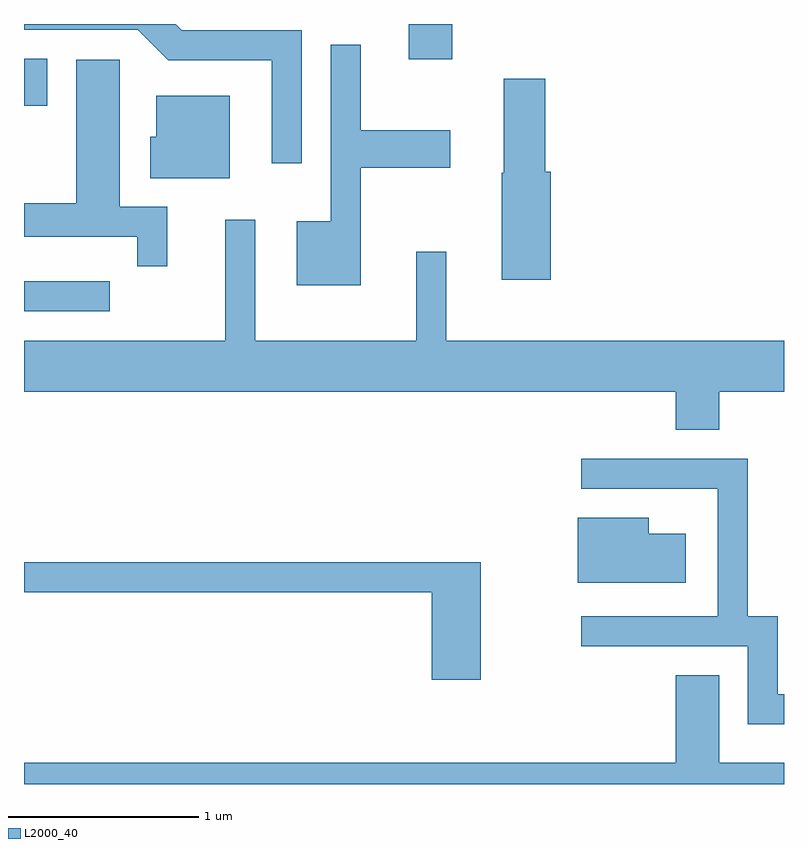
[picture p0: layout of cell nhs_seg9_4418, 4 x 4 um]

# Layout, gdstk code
import gdstk
lib = gdstk.Library(unit=1e-6, precision=1e-09)
def R(c, l, rs):  # rectangles x0, y0, x1, y1
    for r in rs: c.add(gdstk.rectangle(r[:2], r[2:], *l))
def P(c, l, *ps):  # polygons
    for p in ps: c.add(gdstk.Polygon(p, *l))
L2000_40 = (2000, 40)

nhs_seg9_4418 = lib.new_cell('nhs_seg9_4418')
R(nhs_seg9_4418, L2000_40, [(315.611,1978.921,316.063,1979.079), (315.611,1980.001,315.734,1980.249), (317.636,1980.246,317.864,1980.432)])
P(nhs_seg9_4418, L2000_40, [(317.074,1980.399),(316.442,1980.399),(316.409,1980.432),(315.611,1980.432),(315.611,1980.401),(316.209,1980.401),(316.369,1980.241),(316.916,1980.241),(316.916,1979.698),(317.074,1979.698)],
  [(317.384,1979.676),(317.854,1979.676),(317.854,1979.874),(317.384,1979.874),(317.384,1980.323),(317.226,1980.323),(317.226,1979.394),(317.046,1979.394),(317.046,1979.056),(317.384,1979.056)],
  [(316.364,1979.469),(316.114,1979.469),(316.114,1980.244),(315.886,1980.244),(315.886,1979.489),(315.611,1979.489),(315.611,1979.311),(316.206,1979.311),(316.206,1979.158),(316.364,1979.158)],
  [(318.384,1979.654),(318.354,1979.654),(318.354,1980.144),(318.136,1980.144),(318.136,1979.65),(318.126,1979.65),(318.126,1979.086),(318.384,1979.086)],
  [(316.694,1980.054),(316.306,1980.054),(316.306,1979.839),(316.276,1979.839),(316.276,1979.621),(316.694,1979.621)],
  [(319.269,1978.496),(319.611,1978.496),(319.611,1978.764),(317.834,1978.764),(317.834,1979.233),(317.676,1979.233),(317.676,1978.764),(316.829,1978.764),(316.829,1979.403),(316.671,1979.403),(316.671,1978.764),(315.611,1978.764),(315.611,1978.496),(319.041,1978.496),(319.041,1978.296),(319.269,1978.296)],
  [(319.611,1976.904),(319.579,1976.904),(319.579,1977.314),(319.419,1977.314),(319.419,1978.144),(318.543,1978.144),(318.543,1977.986),(319.261,1977.986),(319.261,1977.314),(318.543,1977.314),(318.543,1977.156),(319.421,1977.156),(319.421,1976.746),(319.611,1976.746)],
  [(319.094,1977.749),(318.899,1977.749),(318.899,1977.834),(318.526,1977.834),(318.526,1977.491),(319.094,1977.491)],
  [(318.014,1977.599),(315.611,1977.599),(315.611,1977.441),(317.756,1977.441),(317.756,1976.981),(318.014,1976.981)],
  [(319.611,1976.544),(319.269,1976.544),(319.269,1977.004),(319.041,1977.004),(319.041,1976.544),(315.611,1976.544),(315.611,1976.432),(319.611,1976.432)])

lib.write_gds('nhs_seg9_4418.gds')
